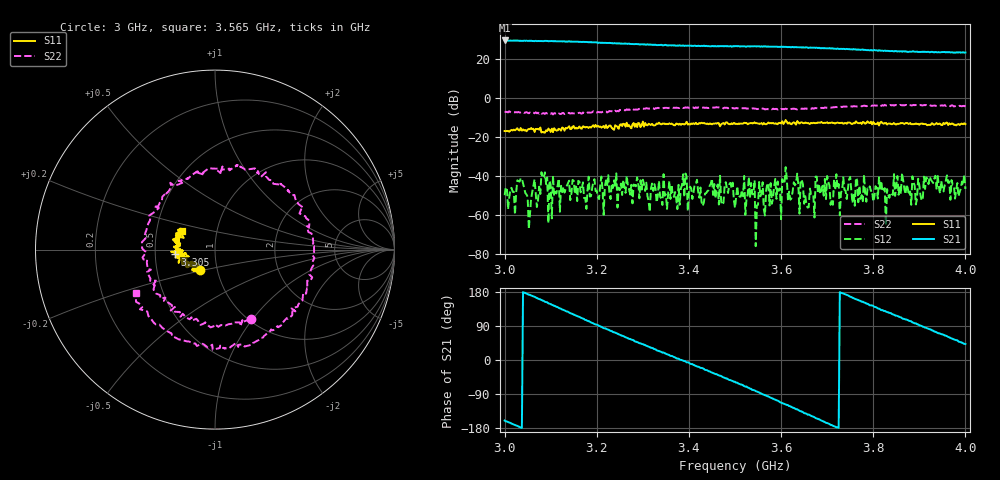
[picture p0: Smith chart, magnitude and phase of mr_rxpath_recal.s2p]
!Agilent Technologies,E8358A,US40260201,A.04.06
!Agilent E8358A: A.04.06
!Date: Saturday, February 25, 2012 17:49:52
!Correction: S11(Full 2 Port SOLT,1,2) S21(Full 2 Port SOLT,1,2) S12(Full 2 Port SOLT,1,2) S22(Full 2 Port SOLT,1,2)
!S2P File: Measurements: S11, S21, S12, S22:
# Hz S  MA  R 50
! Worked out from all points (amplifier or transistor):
!   401 points, 3 GHz to 4 GHz, reference 50 ohm
!   highest |S21| = 29.2 dB at 3 GHz (marker M1)
!   |S21| within 3 dB of that: start of sweep to 3.447 GHz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
!   unconditionally stable (mu >= 1): start of sweep to end of sweep
!   at 3.165 GHz: K = 4.13, MAG = 29.3 dB, |S12| = -48.4 dB
!   at 3.5 GHz: K = 10.94, MAG = 27.9 dB, |S12| = -56.3 dB
!   at 4 GHz: K = 4.70, MAG = 25.2 dB, |S12| = -46.7 dB
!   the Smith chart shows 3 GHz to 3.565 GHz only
!   S11 on the Smith chart (normalised r, x): 3 GHz: 0.82, -0.19; 3.305 GHz: 0.64, -0.04; 3.565 GHz: 0.67, +0.15
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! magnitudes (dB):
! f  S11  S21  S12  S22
! 3 GHz  -17.1  29.2  -49.9  -7.2
! 3.035 GHz  -15.5  29.1  -41.2  -7.5
! 3.053 GHz  -16.1  29.1  -67.2  -8.0
! 3.085 GHz  -17.7  28.9  -40.7  -7.9
! 3.098 GHz  -16.4  28.9  -42.3  -7.8
! 3.167 GHz  -15.8  28.4  -46.6  -8.2
! 3.305 GHz  -13.0  27.2  -47.7  -5.6
! 3.335 GHz  -12.8  26.9  -42.5  -5.3
! 3.375 GHz  -13.4  26.7  -57.0  -5.2
! 3.39 GHz  -13.7  26.5  -50.9  -5.1
! 3.428 GHz  -12.8  26.5  -53.5  -5.1
! 3.45 GHz  -13.6  26.4  -41.4  -5.1
! 3.5 GHz  -13.3  26.3  -56.3  -5.5
! 3.565 GHz  -13.4  26.2  -60.2  -6.0
! 3.595 GHz  -12.9  26.0  -47.6  -5.8
! 3.607 GHz  -12.5  25.9  -43.4  -5.9
! 3.62 GHz  -13.3  25.8  -52.2  -6.0
! 3.632 GHz  -13.8  25.8  -43.7  -5.9
! 3.667 GHz  -13.1  25.6  -49.2  -5.3
! 3.72 GHz  -12.9  25.0  -39.1  -4.8
! 3.835 GHz  -13.3  23.8  -51.2  -4.0
! 4 GHz  -13.5  23.0  -46.7  -4.6
